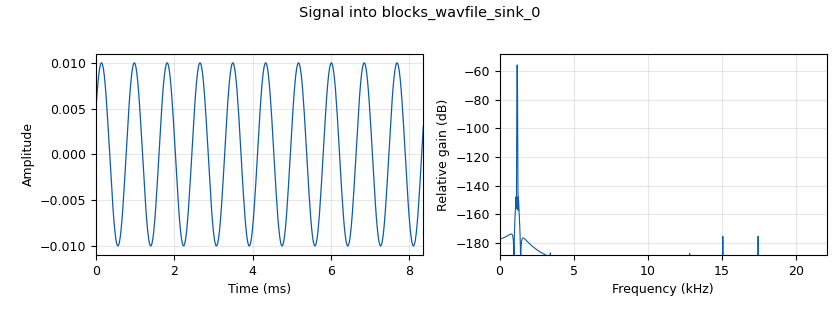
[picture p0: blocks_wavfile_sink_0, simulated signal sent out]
<?xml version='1.0' encoding='utf-8'?>
<?grc format='1' created='3.7.13'?>
<flow_graph>
<block>
<key>options</key>
<param><key>id</key><value>top_block</value></param>
<param><key>generate_options</key><value>wx_gui</value></param>
</block>
<block>
<key>variable_slider</key>
<param><key>id</key><value>amplitude</value></param>
<param><key>converver</key><value>float_converter</value></param>
<param><key>value</key><value>1</value></param>
<param><key>_enabled</key><value>0</value></param>
<param><key>label</key><value></value></param>
<param><key>max</key><value>100</value></param>
<param><key>min</key><value>0</value></param>
<param><key>num_steps</key><value>1000</value></param>
<param><key>style</key><value>wx.SL_HORIZONTAL</value></param>
</block>
<block>
<key>variable_slider</key>
<param><key>id</key><value>frequency</value></param>
<param><key>converver</key><value>float_converter</value></param>
<param><key>value</key><value>860</value></param>
<param><key>_enabled</key><value>0</value></param>
<param><key>label</key><value></value></param>
<param><key>max</key><value>1600</value></param>
<param><key>min</key><value>800</value></param>
<param><key>num_steps</key><value>800</value></param>
<param><key>style</key><value>wx.SL_HORIZONTAL</value></param>
</block>
<block>
<key>variable</key>
<param><key>id</key><value>samp_rate</value></param>
<param><key>value</key><value>44100</value></param>
</block>
<block>
<key>analog_sig_source_x</key>
<param><key>id</key><value>analog_sig_source_x_0</value></param>
<param><key>amp</key><value>amplitude</value></param>
<param><key>_enabled</key><value>0</value></param>
<param><key>freq</key><value>frequency</value></param>
<param><key>offset</key><value>0</value></param>
<param><key>type</key><value>float</value></param>
<param><key>samp_rate</key><value>samp_rate</value></param>
<param><key>waveform</key><value>analog.GR_COS_WAVE</value></param>
</block>
<block>
<key>analog_sig_source_x</key>
<param><key>id</key><value>analog_sig_source_x_0_0</value></param>
<param><key>amp</key><value>0.01</value></param>
<param><key>freq</key><value>1190</value></param>
<param><key>offset</key><value>0</value></param>
<param><key>type</key><value>float</value></param>
<param><key>samp_rate</key><value>samp_rate</value></param>
<param><key>waveform</key><value>analog.GR_COS_WAVE</value></param>
</block>
<block>
<key>blocks_throttle</key>
<param><key>id</key><value>blocks_throttle_0</value></param>
<param><key>_enabled</key><value>0</value></param>
<param><key>samples_per_second</key><value>samp_rate</value></param>
<param><key>type</key><value>float</value></param>
</block>
<block>
<key>blocks_throttle</key>
<param><key>id</key><value>blocks_throttle_0_0</value></param>
<param><key>_enabled</key><value>0</value></param>
<param><key>samples_per_second</key><value>samp_rate</value></param>
<param><key>type</key><value>float</value></param>
</block>
<block>
<key>blocks_throttle</key>
<param><key>id</key><value>blocks_throttle_0_0_0</value></param>
<param><key>samples_per_second</key><value>samp_rate</value></param>
<param><key>type</key><value>float</value></param>
</block>
<block>
<key>blocks_wavfile_sink</key>
<param><key>id</key><value>blocks_wavfile_sink_0</value></param>
<param><key>bits_per_sample</key><value>8</value></param>
<param><key>file</key><value>/home/me/test.wav</value></param>
<param><key>samp_rate</key><value>samp_rate</value></param>
</block>
<block>
<key>blocks_wavfile_source</key>
<param><key>id</key><value>blocks_wavfile_source_0</value></param>
<param><key>_enabled</key><value>0</value></param>
<param><key>file</key><value>/home/me/git/ft_pr/Underwater_Experiment/lake-trial-august13-2018/sendloc1_trans1_laketrial_aug13_2018.wav</value></param>
<param><key>repeat</key><value>True</value></param>
</block>
<block>
<key>wxgui_fftsink2</key>
<param><key>id</key><value>wxgui_fftsink2_0</value></param>
<param><key>avg_alpha</key><value>0</value></param>
<param><key>average</key><value>False</value></param>
<param><key>baseband_freq</key><value>0</value></param>
<param><key>_enabled</key><value>0</value></param>
<param><key>fft_size</key><value>1024</value></param>
<param><key>freqvar</key><value>None</value></param>
<param><key>peak_hold</key><value>False</value></param>
<param><key>ref_level</key><value>0</value></param>
<param><key>ref_scale</key><value>2.0</value></param>
<param><key>fft_rate</key><value>15</value></param>
<param><key>samp_rate</key><value>samp_rate</value></param>
<param><key>title</key><value>FFT Plot</value></param>
<param><key>type</key><value>float</value></param>
<param><key>win</key><value>None</value></param>
<param><key>y_divs</key><value>10</value></param>
<param><key>y_per_div</key><value>10</value></param>
</block>
<block>
<key>wxgui_fftsink2</key>
<param><key>id</key><value>wxgui_fftsink2_0_0</value></param>
<param><key>avg_alpha</key><value>0</value></param>
<param><key>average</key><value>False</value></param>
<param><key>baseband_freq</key><value>0</value></param>
<param><key>_enabled</key><value>0</value></param>
<param><key>fft_size</key><value>1024</value></param>
<param><key>freqvar</key><value>None</value></param>
<param><key>peak_hold</key><value>False</value></param>
<param><key>ref_level</key><value>0</value></param>
<param><key>ref_scale</key><value>2.0</value></param>
<param><key>fft_rate</key><value>15</value></param>
<param><key>samp_rate</key><value>samp_rate</value></param>
<param><key>title</key><value>FFT Plot</value></param>
<param><key>type</key><value>float</value></param>
<param><key>win</key><value>None</value></param>
<param><key>y_divs</key><value>10</value></param>
<param><key>y_per_div</key><value>10</value></param>
</block>
<connection><source_block_id>analog_sig_source_x_0</source_block_id><sink_block_id>blocks_throttle_0</sink_block_id><source_key>0</source_key><sink_key>0</sink_key></connection>
<connection><source_block_id>analog_sig_source_x_0_0</source_block_id><sink_block_id>blocks_throttle_0_0_0</sink_block_id><source_key>0</source_key><sink_key>0</sink_key></connection>
<connection><source_block_id>blocks_throttle_0</source_block_id><sink_block_id>wxgui_fftsink2_0_0</sink_block_id><source_key>0</source_key><sink_key>0</sink_key></connection>
<connection><source_block_id>blocks_throttle_0_0</source_block_id><sink_block_id>wxgui_fftsink2_0</sink_block_id><source_key>0</source_key><sink_key>0</sink_key></connection>
<connection><source_block_id>blocks_throttle_0_0_0</source_block_id><sink_block_id>blocks_wavfile_sink_0</sink_block_id><source_key>0</source_key><sink_key>0</sink_key></connection>
<connection><source_block_id>blocks_wavfile_source_0</source_block_id><sink_block_id>blocks_throttle_0_0</sink_block_id><source_key>0</source_key><sink_key>0</sink_key></connection>
</flow_graph>
